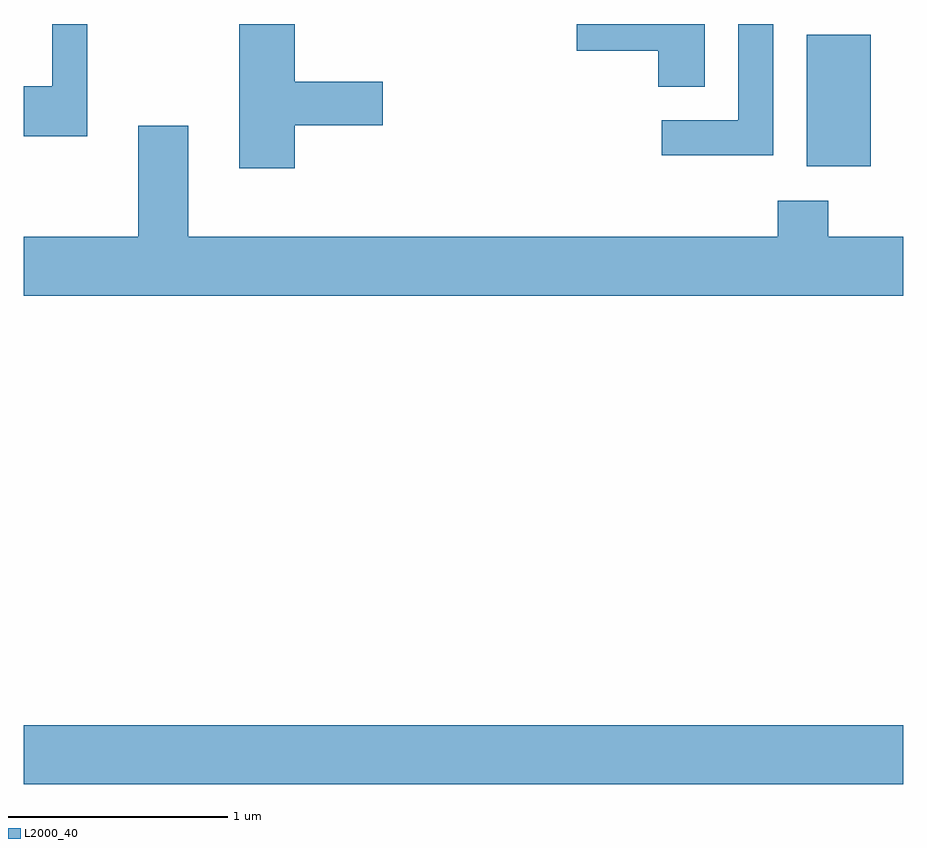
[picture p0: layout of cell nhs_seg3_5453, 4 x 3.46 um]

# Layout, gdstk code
import gdstk
lib = gdstk.Library(unit=1e-6, precision=1e-09)
def R(c, l, rs):  # rectangles x0, y0, x1, y1
    for r in rs: c.add(gdstk.rectangle(r[:2], r[2:], *l))
def P(c, l, *ps):  # polygons
    for p in ps: c.add(gdstk.Polygon(p, *l))
L2000_40 = (2000, 40)

nhs_seg3_5453 = lib.new_cell('nhs_seg3_5453')
R(nhs_seg3_5453, L2000_40, [(345.611,1150.436,349.611,1150.704), (349.171,1153.246,349.464,1153.844)])
P(nhs_seg3_5453, L2000_40, [(346.844,1153.431),(347.244,1153.431),(347.244,1153.629),(346.844,1153.629),(346.844,1153.892),(346.591,1153.892),(346.591,1153.236),(346.844,1153.236)],
  [(345.899,1153.892),(345.741,1153.892),(345.741,1153.609),(345.611,1153.609),(345.611,1153.381),(345.899,1153.381)],
  [(349.019,1153.892),(348.861,1153.892),(348.861,1153.454),(348.513,1153.454),(348.513,1153.296),(349.019,1153.296)],
  [(348.709,1153.892),(348.126,1153.892),(348.126,1153.771),(348.496,1153.771),(348.496,1153.606),(348.709,1153.606)],
  [(349.611,1152.924),(349.269,1152.924),(349.269,1153.089),(349.041,1153.089),(349.041,1152.924),(346.359,1152.924),(346.359,1153.429),(346.131,1153.429),(346.131,1152.924),(345.611,1152.924),(345.611,1152.656),(349.611,1152.656)])

lib.write_gds('nhs_seg3_5453.gds')
